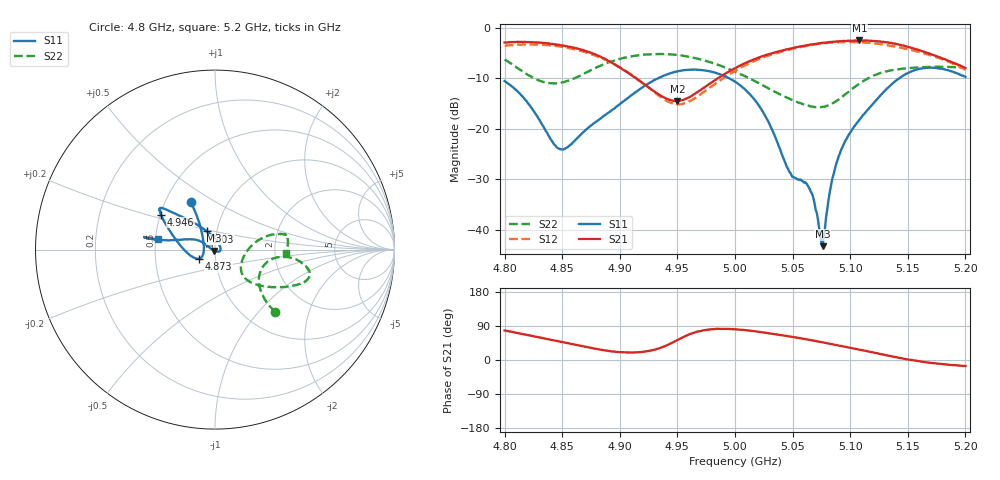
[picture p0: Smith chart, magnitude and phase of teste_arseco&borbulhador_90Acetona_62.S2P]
! Network Analyzer HP8722D
! Hewlett-Packard
! Data name: Linha & Wilkinson
! Saver's name: Rodrigo Anjos
! Comments: Teste da utilização de aquisição
! continua pelo VNA HP8722D
! Time and date: 17/4/2025 11:34
!  Frequency  S11  S21  S12  S22
# HZ  S  MA R 50
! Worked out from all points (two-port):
!   401 points, 4.8 GHz to 5.2 GHz, reference 50 ohm
!   highest |S21| = -2.56 dB at 5.108 GHz (marker M1); lowest = -14.6 dB at 4.95 GHz (marker M2)
!   |S21| within 3 dB of the highest: start of sweep to 4.881 GHz; 5.025 GHz to 5.174 GHz (148.3 MHz wide, 2.91 % of centre)
!   lowest |S11| = -43.2 dB at 5.076 GHz (marker M3), VSWR 1.01, Z = 49.6 - j0.553 ohm
!   |S11| at or under -10 dB: start of sweep to 4.934 GHz; 4.995 GHz to 5.143 GHz (148.3 MHz wide, 2.93 % of centre)
!   |S22| runs from -15.8 to -5.2 dB; largest |S21 - S12| = 1
!   S11 on the Smith chart (normalised r, x): 4.8 GHz: 0.67, +0.39; 4.873 GHz: 0.83, -0.09; 4.946 GHz: 0.50, +0.22; 5.03 GHz: 0.90, +0.18; 5.2 GHz: 0.51, +0.07
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4.8e9  0.2952 117.2  0.7099 77.9  0.6633 -15.7  0.4819 -45.9
4.819e9  0.1872 119.6  0.7178 66.4  0.6801 -24.1  0.3472 -42.5
4.846e9  0.06431 164.6  0.6763 49.8  0.6542 -37.1  0.2816 -21.0
4.867e9  0.08926 -149.7  0.6025 36.8  0.5848 -47.7  0.3412 -7.6
4.873e9  0.1029 -150.4  0.5718 33.1  0.555 -50.9  0.3681 -6.3
4.902e9  0.1818 177.0  0.3887 20.2  0.3914 -62.9  0.4961 -9.0
4.934e9  0.3183 151.6  0.2173 30.7  0.2121 -56.8  0.5466 -15.6
4.946e9  0.359 147.2  0.1891 46.4  0.1773 -40.8  0.5406 -18.2
4.95e9  0.3689 146.0  0.1868 52.7  0.1737 -34.0  0.5345 -19.2
4.976e9  0.3725 141.6  0.2677 79.9  0.2439 -1.9  0.4635 -26.2
5e9  0.2919 137.6  0.3954 81.0  0.3735 3.5  0.3657 -34.5
5.017e9  0.1938 128.5  0.488 75.9  0.4674 0.6  0.2958 -40.8
5.03e9  0.1104 113.8  0.5471 70.3  0.5309 -3.5  0.2464 -43.4
5.048e9  0.03661 49.4  0.6189 61.9  0.6075 -10.6  0.1953 -40.8
5.067e9  0.02246 -31.9  0.6818 51.9  0.6736 -19.9  0.1646 -26.8
5.076e9  0.006882 -125.9  0.7053 46.7  0.6949 -25.0  0.1645 -15.0
5.083e9  0.0262 164.2  0.7171 42.6  0.7081 -29.2  0.1736 -5.3
5.089e9  0.04883 153.4  0.7281 39.0  0.7165 -32.8  0.1908 2.2
5.108e9  0.1224 152.9  0.7447 27.6  0.7161 -45.3  0.2783 14.1
5.134e9  0.2619 168.5  0.7074 11.0  0.662 -60.9  0.3747 13.3
5.164e9  0.3963 170.2  0.5762 -5.1  0.5569 -74.7  0.4064 11.2
5.2e9  0.3249 169.7  0.3982 -15.9  0.3821 -84.4  0.3957 -2.4
